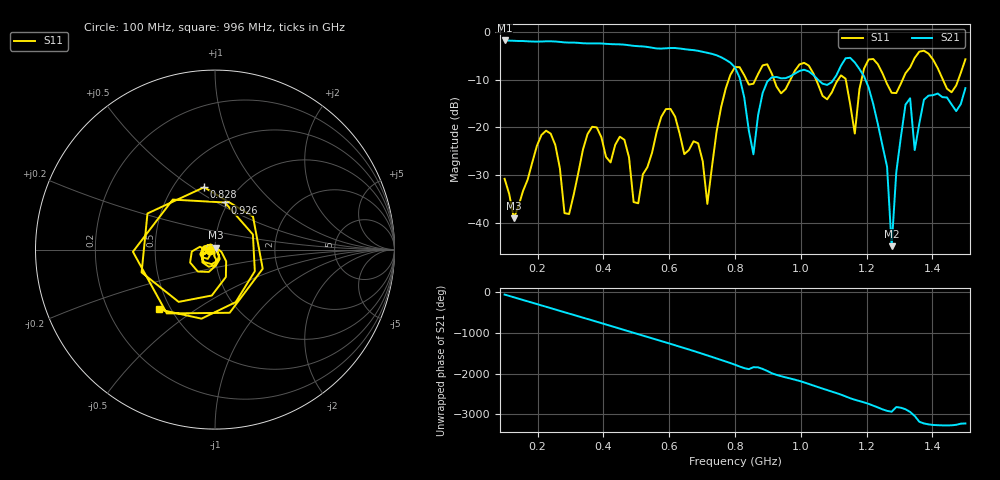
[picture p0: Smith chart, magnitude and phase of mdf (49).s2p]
! NanoVNA-App
! Date: 2025-09-25 15:38:48
! Start: 100MHz Stop: 1,5GHz Points: 101
! S-Parameter data: F S11 S21 S12 S22
# Hz S RI R 50
!  Frequency  S11_Real  S11_Imag  S21_Real  S21_Imag  S12_Real  S12_Imag  S22_Real  S22_Imag
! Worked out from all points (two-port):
!   101 points, 100 MHz to 1.5 GHz, reference 50 ohm
!   highest |S21| = -1.80 dB at 100 MHz (marker M1); lowest = -44.9 dB at 1.276 GHz (marker M2)
!   |S21| within 3 dB of the highest: start of sweep to 739.1 MHz
!   lowest |S11| = -39.0 dB at 128 MHz (marker M3), VSWR 1.02, Z = 50.3 + j1.08 ohm
!   |S11| at or under -10 dB: start of sweep to 781 MHz; 918.5 MHz to 968.3 MHz (49.84 MHz wide, 5.28 % of centre); 1.046 GHz to 1.113 GHz (67.17 MHz wide, 6.22 % of centre) (the widest 3 of 7)
!   S12 and S22 are empty: the file has one direction only
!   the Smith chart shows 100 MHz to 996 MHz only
!   S11 on the Smith chart (normalised r, x): 100 MHz: 0.94, -0.01; 828 MHz: 0.70, +0.56; 926 MHz: 0.96, +0.55; 996 MHz: 0.43, -0.36
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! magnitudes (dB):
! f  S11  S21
! 100 MHz  -30.8  -1.8
! 128 MHz  -39.0  -1.9
! 212 MHz  -21.6  -2.0
! 282 MHz  -37.9  -2.2
! 338 MHz  -24.7  -2.4
! 464 MHz  -22.6  -2.7
! 506 MHz  -35.9  -3.0
! 576 MHz  -17.8  -3.5
! 716 MHz  -36.0  -4.4
! 800 MHz  -7.4  -7.4
! 828 MHz  -9.1  -13.7
! 856 MHz  -10.9  -25.6
! 926 MHz  -11.4  -9.4
! 996 MHz  -6.8  -8.2
! 1.038 GHz  -8.7  -9.0
! 1.164 GHz  -21.3  -6.4
! 1.192 GHz  -7.7  -9.3
! 1.262 GHz  -10.9  -28.2
! 1.276 GHz  -12.8  -44.9
! 1.318 GHz  -8.7  -15.2
! 1.346 GHz  -5.5  -24.7
! 1.5 GHz  -5.7  -11.8
